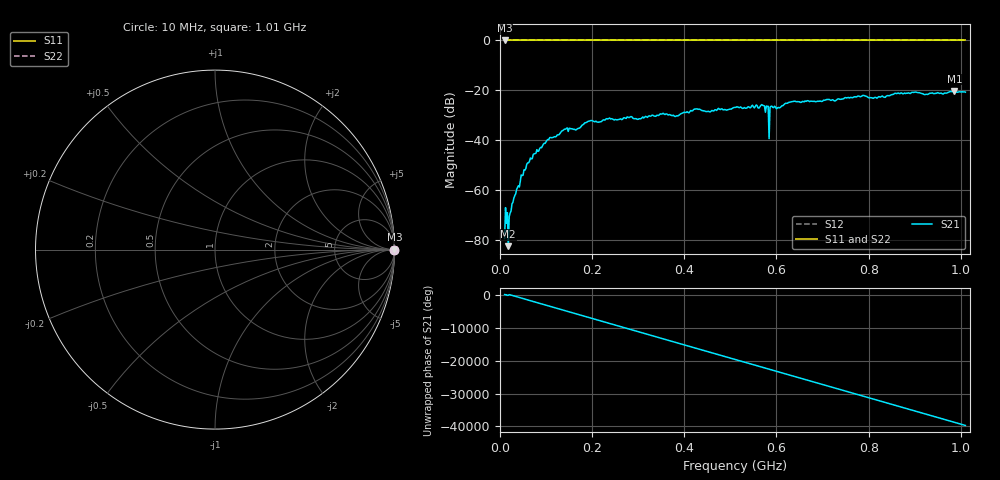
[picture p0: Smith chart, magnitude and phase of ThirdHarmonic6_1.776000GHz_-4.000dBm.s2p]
! 8/16/2025 9:27:32 PM
! C:\ANRITSUVNA\TEMP\TEMP.S2P
! CHANNEL.1
! TR.MEASUREMENT
! RAW.DATA
! RF.CORRECTION.OFF
! AVERAGING.OFF
! IF.BANDWIDTH: 5KHZ
! SWEEPTYPE:  FREQ.SWEEP(Linear)
! Reference Plane Port Info
! PORT:  PORT1  PORT2
! DISTANCE:  0  m  0  m
! TIME:  0  s  0  s
! PHASE.OFFSET:  0  deg.  0  deg.
! LOSS:  0  dB  0  dB
! REF.LOSS:  0  dB  0  dB
! REF.FREQ:  0  Hz  0  Hz
! Power Info
! POWER:  -20  dBm  -20  dBm
! EFF.POWER:  -20  dBm  -20  dBm
! SOURCE.ATTEN:  0  dB  0  dB
! TEST.ATTEN:  0  dB  0  dB
# GHZ S RI R 50.0
! FREQ.GHZ  S11RE  S11IM  S21RE  S21IM  S12RE  S12IM  S22RE  S22IM
!; PortSelection: Port_12
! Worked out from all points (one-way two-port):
!   501 points, 10 MHz to 1.01 GHz, reference 50 ohm
!   highest |S21| = -20.26 dB at 986 MHz (marker M1); lowest = -82.5 dB at 18 MHz (marker M2)
!   lowest |S11| = 0.0 dB at 10 MHz (marker M3)
!   |S11| at or under -10 dB: nowhere
!   |S22| runs from 0.0 to 0.0 dB; largest |S21 - S12| = 1.1
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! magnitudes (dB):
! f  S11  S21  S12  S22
! 10 MHz  0.0  -79.4  0.0  0.0
! 16 MHz  0.0  -69.1  0.0  0.0
! 18 MHz  0.0  -82.5  0.0  0.0
! 22 MHz  0.0  -69.2  0.0  0.0
! 30 MHz  0.0  -63.3  0.0  0.0
! 48 MHz  0.0  -54.2  0.0  0.0
! 76 MHz  0.0  -45.4  0.0  0.0
! 106 MHz  0.0  -39.7  0.0  0.0
! 138 MHz  0.0  -35.9  0.0  0.0
! 178 MHz  0.0  -34.0  0.0  0.0
! 196 MHz  0.0  -32.2  0.0  0.0
! 344 MHz  0.0  -30.1  0.0  0.0
! 510 MHz  0.0  -26.9  0.0  0.0
! 570 MHz  0.0  -26.0  0.0  0.0
! 578 MHz  0.0  -26.3  0.0  0.0
! 580 MHz  0.0  -26.5  0.0  0.0
! 588 MHz  0.0  -26.4  0.0  0.0
! 590 MHz  0.0  -26.4  0.0  0.0
! 678 MHz  0.0  -24.4  0.0  0.0
! 844 MHz  0.0  -22.2  0.0  0.0
! 986 MHz  0.0  -20.3  0.0  0.0
! 1.01 GHz  0.0  -20.7  0.0  0.0
